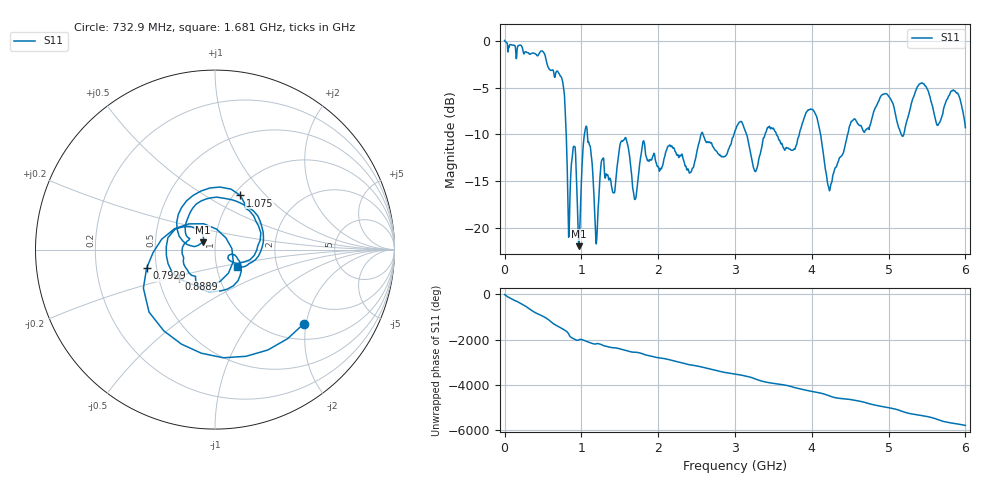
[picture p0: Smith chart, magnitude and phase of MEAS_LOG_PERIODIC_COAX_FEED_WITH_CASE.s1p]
# GHZ S DB R 50.000000000000
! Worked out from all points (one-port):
!   1001 points, 1 MHz to 6 GHz, reference 50 ohm
!   lowest |S11| = -21.9 dB at 966.8 MHz (marker M1), VSWR 1.17, Z = 43.5 + j3.63 ohm
!   |S11| at or under -10 dB: 1.078 GHz to 2.559 GHz (1.481 GHz wide, 81.4 % of centre); 2.584 GHz to 2.986 GHz (401.8 MHz wide, 14.4 % of centre); 4.114 GHz to 4.467 GHz (352.9 MHz wide, 8.22 % of centre)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
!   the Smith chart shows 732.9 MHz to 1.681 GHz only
!   S11 on the Smith chart (normalised r, x): 732.9 MHz: 1.38, -1.94; 792.9 MHz: 0.44, -0.11; 888.9 MHz: 0.64, -0.22; 1.075 GHz: 1.07, +0.73; 1.681 GHz: 1.25, -0.24
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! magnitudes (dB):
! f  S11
! 1 MHz  0.0
! 732.9 MHz  -3.8
! 750.9 MHz  -4.2
! 792.9 MHz  -8.1
! 840.9 MHz  -20.5
! 888.9 MHz  -11.8
! 966.8 MHz  -21.9
! 1.075 GHz  -9.6
! 1.195 GHz  -21.7
! 1.267 GHz  -12.7
! 1.417 GHz  -16.2
! 1.501 GHz  -11.2
! 1.591 GHz  -10.7
! 1.681 GHz  -16.3
! 1.801 GHz  -10.9
! 2.251 GHz  -12.2
! 3.001 GHz  -9.6
! 3.264 GHz  -14.0
! 3.444 GHz  -9.2
! 3.75 GHz  -11.7
! 4.014 GHz  -7.4
! 4.236 GHz  -15.9
! 4.5 GHz  -9.0
! 4.95 GHz  -5.7
! 5.25 GHz  -8.3
! 5.43 GHz  -4.5
! 5.634 GHz  -9.0
! 6 GHz  -9.3
